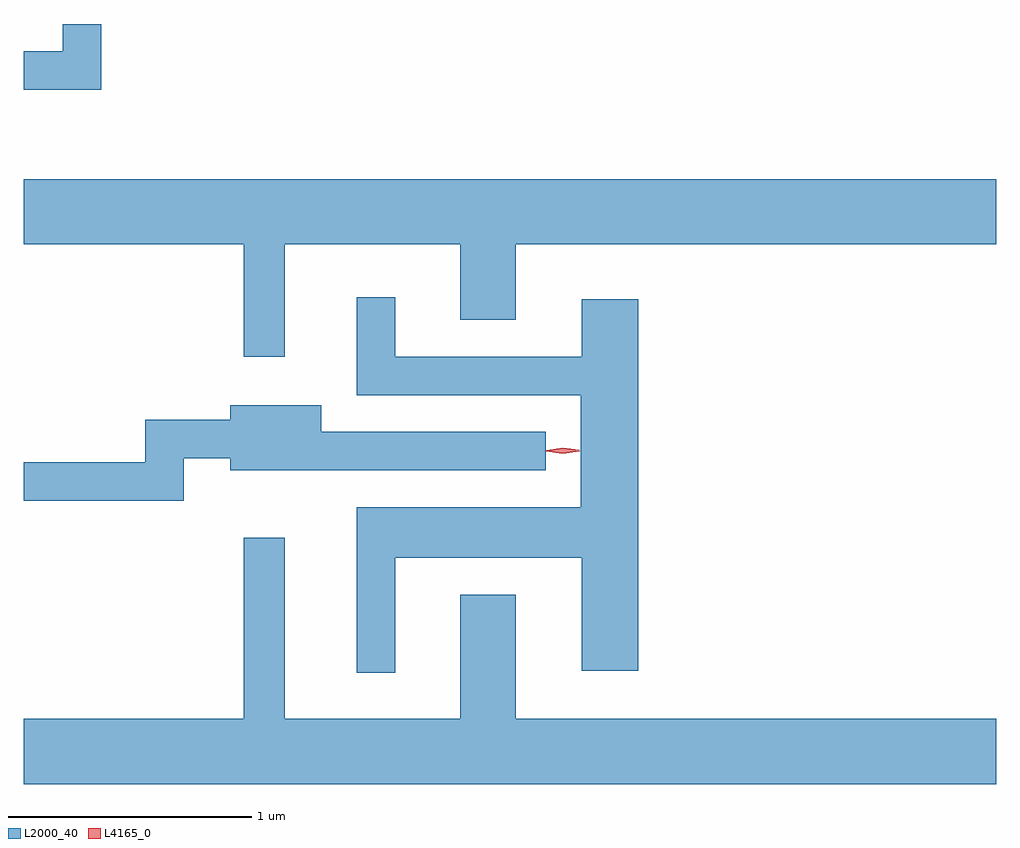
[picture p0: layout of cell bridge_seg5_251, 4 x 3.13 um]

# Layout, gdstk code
import gdstk
lib = gdstk.Library(unit=1e-6, precision=1e-09)
def P(c, l, *ps):  # polygons
    for p in ps: c.add(gdstk.Polygon(p, *l))
L2000_40 = (2000, 40)
L4165_0 = (4165, 0)

bridge_seg5_251 = lib.new_cell('bridge_seg5_251')
P(bridge_seg5_251, L2000_40, [(877.434,1477.682),(877.276,1477.682),(877.276,1477.569),(877.116,1477.569),(877.116,1477.411),(877.434,1477.411)],
  [(878.189,1476.776),(878.911,1476.776),(878.911,1476.466),(879.139,1476.466),(879.139,1476.776),(881.116,1476.776),(881.116,1477.044),(877.116,1477.044),(877.116,1476.776),(878.021,1476.776),(878.021,1476.313),(878.189,1476.313)],
  [(878.644,1475.486),(879.411,1475.486),(879.411,1475.021),(879.644,1475.021),(879.644,1476.549),(879.411,1476.549),(879.411,1476.314),(878.644,1476.314),(878.644,1476.558),(878.486,1476.558),(878.486,1476.156),(879.406,1476.156),(879.406,1475.694),(878.486,1475.694),(878.486,1475.013),(878.644,1475.013)],
  [(877.774,1475.896),(877.966,1475.896),(877.966,1475.846),(879.263,1475.846),(879.263,1476.004),(878.339,1476.004),(878.339,1476.114),(877.966,1476.114),(877.966,1476.054),(877.616,1476.054),(877.616,1475.879),(877.116,1475.879),(877.116,1475.721),(877.774,1475.721)],
  [(881.116,1474.824),(879.139,1474.824),(879.139,1475.334),(878.911,1475.334),(878.911,1474.824),(878.189,1474.824),(878.189,1475.568),(878.021,1475.568),(878.021,1474.824),(877.116,1474.824),(877.116,1474.556),(881.116,1474.556)])
P(bridge_seg5_251, L4165_0, [(879.333,1475.915),(879.264,1475.924),(879.264,1475.925),(879.264,1475.926),(879.333,1475.935),(879.402,1475.926),(879.403,1475.925),(879.402,1475.924)],
  [(879.334,1475.92),(879.267,1475.928),(879.267,1475.929),(879.267,1475.929),(879.333,1475.94),(879.399,1475.931),(879.4,1475.931),(879.399,1475.93)])

lib.write_gds('bridge_seg5_251.gds')
